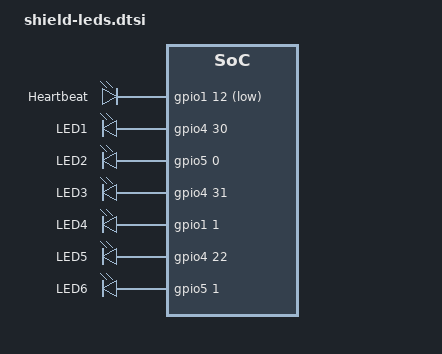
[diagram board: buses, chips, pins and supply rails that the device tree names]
// SPDX-License-Identifier: (GPL-2.0+ OR MIT)
/*
 * Copyright 2025 CriticalShift
 */

#include <dt-bindings/gpio/gpio.h>

/ {
	leds {
		compatible = "gpio-leds";
		pinctrl-names = "default";
		pinctrl-0 = <&pinctrl_gpio_led>;

		heartbeat-led {
			label = "Heartbeat";
			gpios = <&gpio1 12 GPIO_ACTIVE_LOW>;
			linux,default-trigger = "heartbeat";
		};

		led-1 {
			label = "LED1";
			gpios = <&gpio4 30 GPIO_ACTIVE_HIGH>;
			default-state = "off";
		};

		led-2 {
			label = "LED2";
			gpios = <&gpio5 0 GPIO_ACTIVE_HIGH>;
			default-state = "off";
		};

		led-3 {
			label = "LED3";
			gpios = <&gpio4 31 GPIO_ACTIVE_HIGH>;
			default-state = "off";
		};

		led-4 {
			label = "LED4";
			gpios = <&gpio1 1 GPIO_ACTIVE_HIGH>;
			default-state = "off";
		};

		led-5 {
			label = "LED5";
			gpios = <&gpio4 22 GPIO_ACTIVE_HIGH>;
			default-state = "off";
		};

		led-6 {
			label = "LED6";
			gpios = <&gpio5 1 GPIO_ACTIVE_HIGH>;
			default-state = "off";
		};
	};
};

&iomuxc {
	pinctrl_gpio_led: gpioledgrp {
		fsl,pins = <
			MX8MP_IOMUXC_GPIO1_IO12__GPIO1_IO12					0x140 /* Heartbeat */
			MX8MP_IOMUXC_SAI3_RXD__GPIO4_IO30					0x16 /* LED1 - External pull, fast slew, X6 drive */
			MX8MP_IOMUXC_SAI3_TXC__GPIO5_IO00					0x16 /* LED2 - External pull, fast slew, X6 drive */
			MX8MP_IOMUXC_SAI3_TXFS__GPIO4_IO31					0x16 /* LED3 - External pull, fast slew, X6 drive */
			MX8MP_IOMUXC_GPIO1_IO01__GPIO1_IO01					0x16 /* LED4 - External pull, fast slew, X6 drive */
			MX8MP_IOMUXC_SAI2_RXC__GPIO4_IO22					0x16 /* LED5 - External pull, fast slew, X6 drive */
			MX8MP_IOMUXC_SAI3_TXD__GPIO5_IO01					0x16 /* LED6 - External pull, fast slew, X6 drive */
		>;
	};
};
